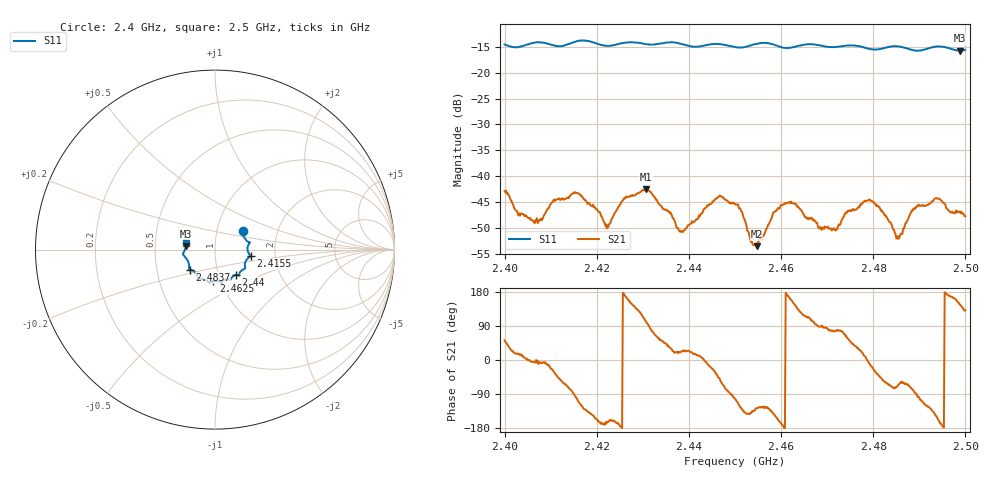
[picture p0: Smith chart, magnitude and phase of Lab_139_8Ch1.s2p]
# Hz S RI R 50
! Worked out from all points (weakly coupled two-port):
!   601 points, 2.4 GHz to 2.5 GHz, reference 50 ohm
!   highest |S21| = -42.57 dB at 2.4307 GHz (marker M1); lowest = -53.6 dB at 2.4547 GHz (marker M2)
!   lowest |S11| = -15.7 dB at 2.4988 GHz (marker M3), VSWR 1.39, Z = 36 + j1.32 ohm
!   |S11| at or under -10 dB: start of sweep to end of sweep
!   S12 and S22 are empty: the file has one direction only
!   S11 on the Smith chart (normalised r, x): 2.4 GHz: 1.33, +0.29; 2.4155 GHz: 1.49, -0.11; 2.44 GHz: 1.21, -0.35; 2.4625 GHz: 0.92, -0.34; 2.4837 GHz: 0.74, -0.17; 2.5 GHz: 0.72, +0.05
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2.4e9  0.1558 0.1051  0.00441 0.00562  0 0  0 0
2.406833e9  0.1937 0.0396  0.00377 3.23e-06  0 0  0 0
2.4155e9  0.1982 -0.0348  -0.0011 -0.00675  0 0  0 0
2.416667e9  0.202 -0.0392  -0.00332 -0.00559  0 0  0 0
2.422333e9  0.1696 -0.0672  -0.00324 -0.000866  0 0  0 0
2.430667e9  0.1505 -0.1154  -0.00159 0.00727  0 0  0 0
2.433333e9  0.1358 -0.134  0.00296 0.00463  0 0  0 0
2.44e9  0.1156 -0.1405  0.00308 0.00137  0 0  0 0
2.446333e9  0.0842 -0.1707  0.00441 -0.00446  0 0  0 0
2.45e9  0.0638 -0.1656  -0.00111 -0.00521  0 0  0 0
2.454667e9  0.0372 -0.1873  -0.00127 -0.00167  0 0  0 0
2.4625e9  -0.00972 -0.1765  -0.00486 0.00246  0 0  0 0
2.466667e9  -0.0328 -0.1863  -0.000978 0.00375  0 0  0 0
2.471667e9  -0.0643 -0.1655  0.000749 0.00292  0 0  0 0
2.479e9  -0.1046 -0.1355  0.00586 -0.000652  0 0  0 0
2.483333e9  -0.1381 -0.1125  0.00152 -0.00339  0 0  0 0
2.483667e9  -0.14 -0.112  0.00137 -0.0033  0 0  0 0
2.4855e9  -0.1447 -0.1076  0.00107 -0.00223  0 0  0 0
2.488667e9  -0.1454 -0.0794  0.000842 -0.00475  0 0  0 0
2.493667e9  -0.1777 -0.0276  -0.00518 -0.00325  0 0  0 0
2.498833e9  -0.1627 0.0179  -0.00379 0.00252  0 0  0 0
2.5e9  -0.1627 0.0365  -0.00267 0.00308  0 0  0 0
